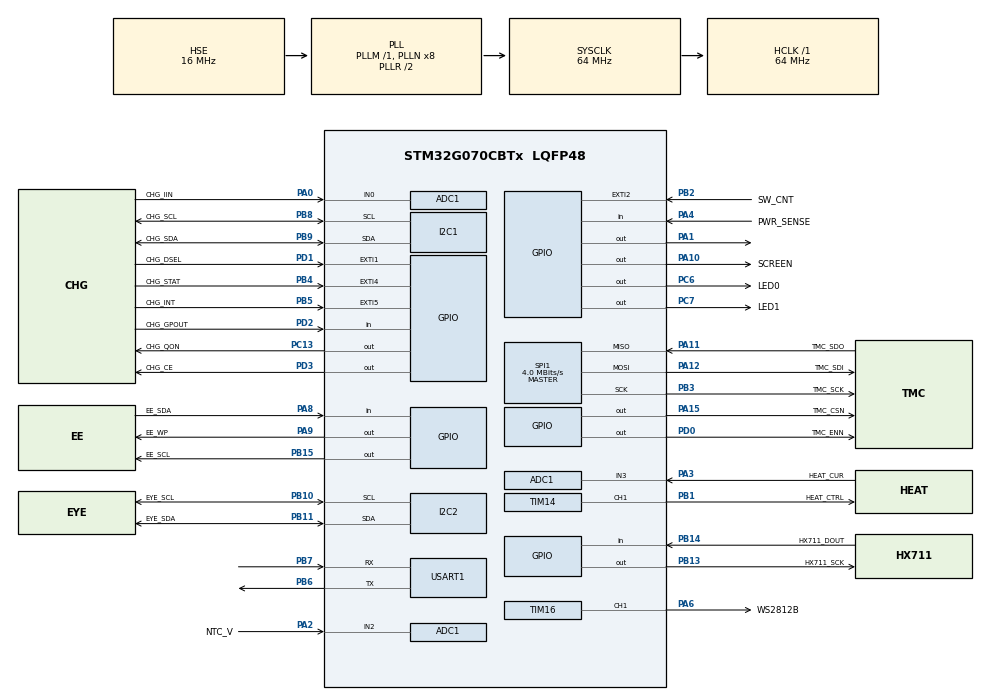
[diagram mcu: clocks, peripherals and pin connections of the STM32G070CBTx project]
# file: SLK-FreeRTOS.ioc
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ADC1.Channel-0\#ChannelRegularConversion=ADC_CHANNEL_0
ADC1.Channel-1\#ChannelRegularConversion=ADC_CHANNEL_2
ADC1.Channel-2\#ChannelRegularConversion=ADC_CHANNEL_3
ADC1.ClockPrescaler=ADC_CLOCK_ASYNC_DIV32
ADC1.ContinuousConvMode=ENABLE
ADC1.DMAContinuousRequests=ENABLE
ADC1.EOCSelection=ADC_EOC_SEQ_CONV
ADC1.NbrOfConversion=3
ADC1.NbrOfConversionFlag=1
ADC1.Overrun=ADC_OVR_DATA_OVERWRITTEN
ADC1.OversamplingMode=ENABLE
ADC1.Rank-0\#ChannelRegularConversion=1
ADC1.Rank-1\#ChannelRegularConversion=2
ADC1.Rank-2\#ChannelRegularConversion=3
ADC1.Ratio=ADC_OVERSAMPLING_RATIO_256
ADC1.Resolution=ADC_RESOLUTION_12B
ADC1.RightBitShift=ADC_RIGHTBITSHIFT_4
ADC1.SamplingTime-0\#ChannelRegularConversion=ADC_SAMPLINGTIME_COMMON_1
ADC1.SamplingTime-1\#ChannelRegularConversion=ADC_SAMPLINGTIME_COMMON_1
ADC1.SamplingTime-2\#ChannelRegularConversion=ADC_SAMPLINGTIME_COMMON_1
ADC1.SelectedChannel=ADC_CHANNEL_0|ADC_CHANNEL_2|ADC_CHANNEL_3
ADC1.master=1
Dma.ADC1.2.Direction=DMA_PERIPH_TO_MEMORY
Dma.ADC1.2.EventEnable=DISABLE
Dma.ADC1.2.Instance=DMA1_Channel5
Dma.ADC1.2.MemDataAlignment=DMA_MDATAALIGN_HALFWORD
Dma.ADC1.2.MemInc=DMA_MINC_ENABLE
Dma.ADC1.2.Mode=DMA_CIRCULAR
Dma.ADC1.2.PeriphDataAlignment=DMA_PDATAALIGN_HALFWORD
Dma.ADC1.2.PeriphInc=DMA_PINC_DISABLE
Dma.ADC1.2.Polarity=HAL_DMAMUX_REQ_GEN_RISING
Dma.ADC1.2.Priority=DMA_PRIORITY_LOW
Dma.ADC1.2.RequestNumber=1
Dma.ADC1.2.SignalID=NONE
Dma.ADC1.2.SyncEnable=DISABLE
Dma.ADC1.2.SyncPolarity=HAL_DMAMUX_SYNC_NO_EVENT
Dma.ADC1.2.SyncRequestNumber=1
Dma.ADC1.2.SyncSignalID=NONE
Dma.I2C1_RX.5.Direction=DMA_PERIPH_TO_MEMORY
Dma.I2C1_RX.5.EventEnable=DISABLE
Dma.I2C1_RX.5.Instance=DMA1_Channel1
Dma.I2C1_RX.5.MemDataAlignment=DMA_MDATAALIGN_BYTE
Dma.I2C1_RX.5.MemInc=DMA_MINC_ENABLE
Dma.I2C1_RX.5.Mode=DMA_NORMAL
Dma.I2C1_RX.5.PeriphDataAlignment=DMA_PDATAALIGN_BYTE
Dma.I2C1_RX.5.PeriphInc=DMA_PINC_DISABLE
Dma.I2C1_RX.5.Polarity=HAL_DMAMUX_REQ_GEN_RISING
Dma.I2C1_RX.5.Priority=DMA_PRIORITY_LOW
Dma.I2C1_RX.5.RequestNumber=1
Dma.I2C1_RX.5.SignalID=NONE
Dma.I2C1_RX.5.SyncEnable=DISABLE
Dma.I2C1_RX.5.SyncPolarity=HAL_DMAMUX_SYNC_NO_EVENT
Dma.I2C1_RX.5.SyncRequestNumber=1
Dma.I2C1_RX.5.SyncSignalID=NONE
Dma.I2C1_TX.6.Direction=DMA_MEMORY_TO_PERIPH
Dma.I2C1_TX.6.EventEnable=DISABLE
Dma.I2C1_TX.6.Instance=DMA1_Channel2
Dma.I2C1_TX.6.MemDataAlignment=DMA_MDATAALIGN_BYTE
Dma.I2C1_TX.6.MemInc=DMA_MINC_ENABLE
Dma.I2C1_TX.6.Mode=DMA_NORMAL
Dma.I2C1_TX.6.PeriphDataAlignment=DMA_PDATAALIGN_BYTE
Dma.I2C1_TX.6.PeriphInc=DMA_PINC_DISABLE
Dma.I2C1_TX.6.Polarity=HAL_DMAMUX_REQ_GEN_RISING
Dma.I2C1_TX.6.Priority=DMA_PRIORITY_LOW
Dma.I2C1_TX.6.RequestNumber=1
Dma.I2C1_TX.6.SignalID=NONE
Dma.I2C1_TX.6.SyncEnable=DISABLE
Dma.I2C1_TX.6.SyncPolarity=HAL_DMAMUX_SYNC_NO_EVENT
Dma.I2C1_TX.6.SyncRequestNumber=1
Dma.I2C1_TX.6.SyncSignalID=NONE
Dma.I2C2_RX.0.Direction=DMA_PERIPH_TO_MEMORY
Dma.I2C2_RX.0.EventEnable=DISABLE
Dma.I2C2_RX.0.Instance=DMA1_Channel3
Dma.I2C2_RX.0.MemDataAlignment=DMA_MDATAALIGN_BYTE
Dma.I2C2_RX.0.MemInc=DMA_MINC_ENABLE
Dma.I2C2_RX.0.Mode=DMA_NORMAL
Dma.I2C2_RX.0.PeriphDataAlignment=DMA_PDATAALIGN_BYTE
Dma.I2C2_RX.0.PeriphInc=DMA_PINC_DISABLE
Dma.I2C2_RX.0.Polarity=HAL_DMAMUX_REQ_GEN_RISING
Dma.I2C2_RX.0.Priority=DMA_PRIORITY_LOW
Dma.I2C2_RX.0.RequestNumber=1
Dma.I2C2_RX.0.SignalID=NONE
Dma.I2C2_RX.0.SyncEnable=DISABLE
Dma.I2C2_RX.0.SyncPolarity=HAL_DMAMUX_SYNC_NO_EVENT
Dma.I2C2_RX.0.SyncRequestNumber=1
Dma.I2C2_RX.0.SyncSignalID=NONE
Dma.I2C2_TX.1.Direction=DMA_MEMORY_TO_PERIPH
Dma.I2C2_TX.1.EventEnable=DISABLE
Dma.I2C2_TX.1.Instance=DMA1_Channel4
Dma.I2C2_TX.1.MemDataAlignment=DMA_MDATAALIGN_BYTE
Dma.I2C2_TX.1.MemInc=DMA_MINC_ENABLE
Dma.I2C2_TX.1.Mode=DMA_NORMAL
Dma.I2C2_TX.1.PeriphDataAlignment=DMA_PDATAALIGN_BYTE
Dma.I2C2_TX.1.PeriphInc=DMA_PINC_DISABLE
Dma.I2C2_TX.1.Polarity=HAL_DMAMUX_REQ_GEN_RISING
Dma.I2C2_TX.1.Priority=DMA_PRIORITY_LOW
Dma.I2C2_TX.1.RequestNumber=1
Dma.I2C2_TX.1.SignalID=NONE
Dma.I2C2_TX.1.SyncEnable=DISABLE
Dma.I2C2_TX.1.SyncPolarity=HAL_DMAMUX_SYNC_NO_EVENT
Dma.I2C2_TX.1.SyncRequestNumber=1
Dma.I2C2_TX.1.SyncSignalID=NONE
Dma.Request0=I2C2_RX
Dma.Request1=I2C2_TX
Dma.Request2=ADC1
Dma.Request3=USART1_TX
Dma.Request4=TIM16_CH1
Dma.Request5=I2C1_RX
Dma.Request6=I2C1_TX
Dma.TIM16_CH1.4.Direction=DMA_MEMORY_TO_PERIPH
Dma.TIM16_CH1.4.EventEnable=DISABLE
Dma.TIM16_CH1.4.Instance=DMA1_Channel7
Dma.TIM16_CH1.4.MemDataAlignment=DMA_MDATAALIGN_HALFWORD
Dma.TIM16_CH1.4.MemInc=DMA_MINC_ENABLE
Dma.TIM16_CH1.4.Mode=DMA_CIRCULAR
Dma.TIM16_CH1.4.PeriphDataAlignment=DMA_PDATAALIGN_HALFWORD
Dma.TIM16_CH1.4.PeriphInc=DMA_PINC_DISABLE
Dma.TIM16_CH1.4.Polarity=HAL_DMAMUX_REQ_GEN_RISING
Dma.TIM16_CH1.4.Priority=DMA_PRIORITY_MEDIUM
Dma.TIM16_CH1.4.RequestNumber=1
Dma.TIM16_CH1.4.SignalID=NONE
Dma.TIM16_CH1.4.SyncEnable=DISABLE
Dma.TIM16_CH1.4.SyncPolarity=HAL_DMAMUX_SYNC_NO_EVENT
Dma.TIM16_CH1.4.SyncRequestNumber=1
Dma.TIM16_CH1.4.SyncSignalID=NONE
Dma.USART1_TX.3.Direction=DMA_MEMORY_TO_PERIPH
Dma.USART1_TX.3.EventEnable=DISABLE
Dma.USART1_TX.3.Instance=DMA1_Channel6
Dma.USART1_TX.3.MemDataAlignment=DMA_MDATAALIGN_BYTE
Dma.USART1_TX.3.MemInc=DMA_MINC_ENABLE
Dma.USART1_TX.3.Mode=DMA_NORMAL
Dma.USART1_TX.3.PeriphDataAlignment=DMA_PDATAALIGN_BYTE
Dma.USART1_TX.3.PeriphInc=DMA_PINC_DISABLE
Dma.USART1_TX.3.Polarity=HAL_DMAMUX_REQ_GEN_RISING
Dma.USART1_TX.3.Priority=DMA_PRIORITY_LOW
Dma.USART1_TX.3.RequestNumber=1
Dma.USART1_TX.3.SignalID=NONE
Dma.USART1_TX.3.SyncEnable=DISABLE
Dma.USART1_TX.3.SyncPolarity=HAL_DMAMUX_SYNC_NO_EVENT
Dma.USART1_TX.3.SyncRequestNumber=1
Dma.USART1_TX.3.SyncSignalID=NONE
FREERTOS.Events01=All_Event,Dynamic,NULL
FREERTOS.Queues01=dataQueue,5,uart_rx_data,0,Dynamic,NULL,NULL;Temperature_Queue,10,float,0,Dynamic,NULL,NULL;Force_Queue,10,uint32_t,0,Dynamic,NULL,NULL
FREERTOS.Tasks01=Motor_Task,24,128,AppMotor_Task,Default,NULL,Dynamic,NULL,NULL;HeatTask,24,128,APP_HeatTask,Default,NULL,Dynamic,NULL,NULL;Uart_ProcessTas,24,128,App_Uart_ProcessTask,Default,NULL,Dynamic,NULL,NULL;Charge_Task,8,128,App_Charge_Task,Default,NULL,Dynamic,NULL,NULL
FREERTOS.Timers01=breatheTimer,BreatheTimerCallback,osTimerPeriodic,Default,NULL,Dynamic,NULL
FREERTOS.configTOTAL_HEAP_SIZE=8192
I2C1.CustomTiming=Disabled
I2C1.Timing=0x10707DBC
I2C2.Timing=0x10707DBC
Mcu.Family=STM32G0
Mcu.Name=STM32G070CBTx
Mcu.Package=LQFP48
NVIC.ADC1_IRQn=true\:3\:0\:false\:false\:true\:false\:true\:true\:true
NVIC.DMA1_Ch4_7_DMAMUX1_OVR_IRQn=true\:0\:0\:true\:false\:true\:false\:false\:true\:true
NVIC.DMA1_Channel1_IRQn=true\:3\:0\:false\:false\:true\:true\:false\:true\:true
NVIC.DMA1_Channel2_3_IRQn=true\:3\:0\:false\:false\:true\:true\:false\:true\:true
NVIC.EXTI0_1_IRQn=true\:3\:0\:false\:false\:true\:true\:true\:true\:true
NVIC.EXTI2_3_IRQn=true\:3\:0\:true\:false\:true\:false\:true\:true\:true
NVIC.EXTI4_15_IRQn=true\:3\:0\:false\:false\:true\:true\:true\:true\:true
NVIC.FLASH_IRQn=true\:3\:0\:false\:false\:true\:true\:true\:true\:true
NVIC.I2C1_IRQn=true\:3\:0\:false\:false\:true\:false\:true\:true\:true
NVIC.I2C2_IRQn=true\:3\:0\:false\:false\:true\:false\:true\:true\:true
NVIC.RCC_IRQn=true\:3\:0\:false\:false\:true\:true\:true\:false\:true
NVIC.SPI1_IRQn=true\:3\:0\:false\:false\:true\:false\:true\:true\:true
NVIC.TIM14_IRQn=true\:3\:0\:false\:false\:true\:false\:true\:true\:true
NVIC.TIM6_IRQn=true\:3\:0\:false\:false\:true\:false\:true\:true\:true
NVIC.TIM7_IRQn=true\:3\:0\:true\:false\:true\:false\:true\:true\:true
NVIC.TimeBase=TIM6_IRQn
NVIC.TimeBaseIP=TIM6
NVIC.USART1_IRQn=true\:3\:0\:true\:false\:true\:true\:true\:true\:true
PA0.GPIO_Label=CHG_IIN
PA0.Mode=IN0
PA0.Signal=ADC1_IN0
PA1.PinState=GPIO_PIN_RESET
PA1.Signal=GPIO_Output
PA10.GPIO_FMPA10=SYSCFG_FASTMODEPLUS_PA10
PA10.GPIO_Label=SCREEN
PA10.GPIO_ModeDefaultOutputPP=GPIO_MODE_OUTPUT_OD
PA10.GPIO_PuPd=GPIO_NOPULL
PA10.GPIO_Speed=GPIO_SPEED_FREQ_LOW
PA10.PinState=GPIO_PIN_RESET
PA10.Signal=GPIO_Output
PA11\ [PA9].GPIO_Label=TMC_SDO
PA11\ [PA9].Mode=Full_Duplex_Master
PA11\ [PA9].Signal=SPI1_MISO
PA12\ [PA10].GPIO_Label=TMC_SDI
PA12\ [PA10].Mode=Full_Duplex_Master
PA12\ [PA10].Signal=SPI1_MOSI
PA13.Mode=Serial_Wire
PA13.Signal=SYS_SWDIO
PA14-BOOT0.Mode=Serial_Wire
PA14-BOOT0.Signal=SYS_SWCLK
PA15.GPIO_Label=TMC_CSN
PA15.PinState=GPIO_PIN_SET
PA15.Signal=GPIO_Output
PA2.GPIO_Label=NTC_V
PA2.Mode=IN2
PA2.Signal=ADC1_IN2
PA3.GPIO_Label=HEAT_CUR
PA3.Mode=IN3
PA3.Signal=ADC1_IN3
PA4.GPIO_Label=PWR_SENSE
PA4.GPIO_PuPd=GPIO_PULLDOWN
PA4.Signal=GPIO_Input
PA6.GPIO_Label=WS2812B
PA6.GPIO_Speed=GPIO_SPEED_FREQ_VERY_HIGH
PA6.Signal=S_TIM16_CH1
PA7.GPIO_Label=LED3
PA7.Signal=S_TIM17_CH1
PA8.GPIO_Label=EE_SDA
PA8.Signal=GPIO_Input
PA9.GPIO_Label=EE_WP
PA9.Signal=GPIO_Output
PB0.GPIO_Label=LED4
PB0.Signal=S_TIM3_CH3
PB1.GPIO_Label=HEAT_CTRL
PB1.Signal=S_TIM14_CH1
PB10.GPIO_Label=EYE_SCL
PB10.Mode=I2C
PB10.Signal=I2C2_SCL
PB11.GPIO_Label=EYE_SDA
PB11.Mode=I2C
PB11.Signal=I2C2_SDA
PB13.GPIO_Label=HX711_SCK
PB13.Signal=GPIO_Output
PB14.GPIO_Label=HX711_DOUT
PB14.Signal=GPIO_Input
PB15.GPIO_Label=EE_SCL
PB15.Signal=GPIO_Output
PB2.GPIO_Label=SW_CNT
PB2.GPIO_ModeDefaultEXTI=GPIO_MODE_IT_FALLING
PB2.Signal=GPXTI2
PB3.GPIO_Label=TMC_SCK
PB3.Mode=Full_Duplex_Master
PB3.Signal=SPI1_SCK
PB4.GPIO_Label=CHG_STAT
PB4.Signal=GPXTI4
PB5.GPIO_Label=CHG_INT
PB5.Signal=GPXTI5
PB6.Mode=Asynchronous
PB6.Signal=USART1_TX
PB7.Mode=Asynchronous
PB7.Signal=USART1_RX
PB8.GPIO_Label=CHG_SCL
PB8.Mode=I2C
PB8.Signal=I2C1_SCL
PB9.GPIO_Label=CHG_SDA
PB9.Mode=I2C
PB9.Signal=I2C1_SDA
PC13.GPIO_Label=CHG_QON
PC13.Signal=GPIO_Output
PC14-OSC32_IN\ (PC14).Mode=LSE-External-Oscillator
PC14-OSC32_IN\ (PC14).Signal=RCC_OSC32_IN
PC15-OSC32_OUT\ (PC15).Mode=LSE-External-Oscillator
PC15-OSC32_OUT\ (PC15).Signal=RCC_OSC32_OUT
PC6.GPIO_Label=LED0
PC6.PinState=GPIO_PIN_SET
PC6.Signal=GPIO_Output
PC7.GPIO_Label=LED1
PC7.PinState=GPIO_PIN_SET
PC7.Signal=GPIO_Output
PD0.GPIO_Label=TMC_ENN
PD0.PinState=GPIO_PIN_SET
PD0.Signal=GPIO_Output
PD1.GPIO_Label=CHG_DSEL
PD1.Signal=GPXTI1
PD2.GPIO_Label=CHG_GPOUT
PD2.Signal=GPIO_Input
PD3.GPIO_Label=CHG_CE
PD3.PinState=GPIO_PIN_SET
PD3.Signal=GPIO_Output
PF0-OSC_IN\ (PF0).Mode=HSE-External-Oscillator
PF0-OSC_IN\ (PF0).Signal=RCC_OSC_IN
PF1-OSC_OUT\ (PF1).Mode=HSE-External-Oscillator
PF1-OSC_OUT\ (PF1).Signal=RCC_OSC_OUT
ProjectManager.HeapSize=0x200
ProjectManager.StackSize=0x400
ProjectManager.TargetToolchain=STM32CubeIDE
RCC.ADCFreq_Value=64000000
RCC.AHBFreq_Value=64000000
RCC.CortexFreq_Value=64000000
RCC.EXTERNAL_CLOCK_VALUE=48000
RCC.HCLKFreq_Value=64000000
RCC.HSE_VALUE=16000000
RCC.HSI_VALUE=16000000
RCC.PLLSourceVirtual=RCC_PLLSOURCE_HSE
RCC.SYSCLKFreq_VALUE=64000000
RCC.SYSCLKSource=RCC_SYSCLKSOURCE_PLLCLK
RCC.VCOOutputFreq_Value=128000000
SH.S_TIM14_CH1.0=TIM14_CH1,PWM Generation1 CH1
SH.S_TIM16_CH1.0=TIM16_CH1,PWM Generation1 CH1
SH.S_TIM17_CH1.0=TIM17_CH1
SH.S_TIM3_CH3.0=TIM3_CH3
SPI1.BaudRatePrescaler=SPI_BAUDRATEPRESCALER_16
SPI1.CLKPhase=SPI_PHASE_2EDGE
SPI1.CLKPolarity=SPI_POLARITY_HIGH
SPI1.CalculateBaudRate=4.0 MBits/s
SPI1.DataSize=SPI_DATASIZE_8BIT
SPI1.Direction=SPI_DIRECTION_2LINES
SPI1.Mode=SPI_MODE_MASTER
SPI1.VirtualType=VM_MASTER
TIM14.Channel=TIM_CHANNEL_1
TIM14.Period=255
TIM14.Prescaler=63
TIM16.Channel=TIM_CHANNEL_1
TIM16.Period=160
TIM16.Pulse=0
TIM7.AutoReloadPreload=TIM_AUTORELOAD_PRELOAD_ENABLE
TIM7.Period=4999
TIM7.Prescaler=639
USART1.VirtualMode-Asynchronous=VM_ASYNC
VP_FREERTOS_VS_CMSIS_V2.Mode=CMSIS_V2
VP_SYS_VS_DBSignals.Mode=DisableDeadBatterySignals
VP_SYS_VS_tim6.Mode=TIM6
VP_TIM14_VS_ClockSourceINT.Mode=Enable_Timer
VP_TIM16_VS_ClockSourceINT.Mode=Enable_Timer
VP_TIM17_VS_ClockSourceINT.Mode=Enable_Timer
VP_TIM7_VS_ClockSourceINT.Mode=Enable_Timer
board=custom

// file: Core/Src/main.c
/* USER CODE BEGIN Header */
/**
  ******************************************************************************
  * @file           : main.c
  * @brief          : Main program body
  ******************************************************************************
  * @attention
  *
  * Copyright (c) 2024 STMicroelectronics.
  * All rights reserved.
  *
  * This software is licensed under terms that can be found in the LICENSE file
  * in the root directory of this software component.
  * If no LICENSE file comes with this software, it is provided AS-IS.
  *
  ******************************************************************************
  */
/* USER CODE END Header */
#include "main.h"
#include "cmsis_os.h"
#include "adc.h"
#include "dma.h"
#include "i2c.h"
#include "spi.h"
#include "tim.h"
#include "usart.h"
#include "gpio.h"

/* USER CODE BEGIN PV */
extern uint8_t MotorCompareState;
uint8_t counter; // ĺŽćśďż????7çčŽĄć°ĺ¨
/* USER CODE END PV */

void SystemClock_Config(void);
void MX_FREERTOS_Init(void);

int main(void)
{

  /* MCU Configuration--------------------------------------------------------*/

  /* Reset of all peripherals, Initializes the Flash interface and the Systick. */
  HAL_Init();

  /* Configure the system clock */
  SystemClock_Config();

  /* Initialize all configured peripherals */
  MX_GPIO_Init();
  MX_DMA_Init();
  MX_ADC1_Init();
  MX_I2C1_Init();
  MX_I2C2_Init();
  MX_SPI1_Init();
  MX_USART1_UART_Init();
  MX_TIM14_Init();
  MX_TIM16_Init();
  MX_TIM7_Init();
  MX_TIM17_Init();

  /* Init scheduler */
  osKernelInitialize();  /* Call init function for freertos objects (in freertos.c) */
  MX_FREERTOS_Init();

  /* Start scheduler */
  osKernelStart();

  /* We should never get here as control is now taken by the scheduler */
  /* Infinite loop */
  while (1)
  {

  }
}

void SystemClock_Config(void)
{
  RCC_OscInitTypeDef RCC_OscInitStruct = {0};
  RCC_ClkInitTypeDef RCC_ClkInitStruct = {0};

  /** Configure the main internal regulator output voltage
  */
  HAL_PWREx_ControlVoltageScaling(PWR_REGULATOR_VOLTAGE_SCALE1);

  /** Initializes the RCC Oscillators according to the specified parameters
  * in the RCC_OscInitTypeDef structure.
  */
  RCC_OscInitStruct.OscillatorType = RCC_OSCILLATORTYPE_HSE;
  RCC_OscInitStruct.HSEState = RCC_HSE_ON;
  RCC_OscInitStruct.PLL.PLLState = RCC_PLL_ON;
  RCC_OscInitStruct.PLL.PLLSource = RCC_PLLSOURCE_HSE;
  RCC_OscInitStruct.PLL.PLLM = RCC_PLLM_DIV1;
  RCC_OscInitStruct.PLL.PLLN = 8;
  RCC_OscInitStruct.PLL.PLLP = RCC_PLLP_DIV2;
  RCC_OscInitStruct.PLL.PLLR = RCC_PLLR_DIV2;
  if (HAL_RCC_OscConfig(&RCC_OscInitStruct) != HAL_OK)
  {
    Error_Handler();
  }

  /** Initializes the CPU, AHB and APB buses clocks
  */
  RCC_ClkInitStruct.ClockType = RCC_CLOCKTYPE_HCLK|RCC_CLOCKTYPE_SYSCLK
                              |RCC_CLOCKTYPE_PCLK1;
  RCC_ClkInitStruct.SYSCLKSource = RCC_SYSCLKSOURCE_PLLCLK;
  RCC_ClkInitStruct.AHBCLKDivider = RCC_SYSCLK_DIV1;
  RCC_ClkInitStruct.APB1CLKDivider = RCC_HCLK_DIV1;

  if (HAL_RCC_ClockConfig(&RCC_ClkInitStruct, FLASH_LATENCY_2) != HAL_OK)
  {
    Error_Handler();
  }
}

void HAL_TIM_PeriodElapsedCallback(TIM_HandleTypeDef *htim)
{
  if (htim->Instance == TIM6) {
    HAL_IncTick();
  }
  /* USER CODE BEGIN Callback 1 */
    if (htim == &htim7) // 50ms��ʱ��
    {
        counter++;
        if ((counter == 10) && (MotorCompareState == 2))
        {
            MotorCompareState = 1;
        }
        if ((counter == 60) && (MotorCompareState == 1))
        {
            MotorCompareState = 2;
            counter = 0;
        }
    }
  /* USER CODE BEGIN Callback 1 */

  /* USER CODE END Callback 1 */
}

void Error_Handler(void)
{
  __disable_irq();
  while (1)
  {
  }
}

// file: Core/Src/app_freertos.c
/* USER CODE BEGIN Header */
/**
  ******************************************************************************
  * File Name          : app_freertos.c
  * Description        : Code for freertos applications
  ******************************************************************************
  * @attention
  *
  * Copyright (c) 2024 STMicroelectronics.
  * All rights reserved.
  *
  * This software is licensed under terms that can be found in the LICENSE file
  * in the root directory of this software component.
  * If no LICENSE file comes with this software, it is provided AS-IS.
  *
  ******************************************************************************
  */
/* USER CODE END Header */

#include "FreeRTOS.h"
#include "task.h"
#include "main.h"
#include "cmsis_os.h"

/* USER CODE BEGIN Variables */
uart_data uart_rx_data;
extern int32_t ForceRawOffset;
uint8_t MotorCompareState = 0;
int32_t Force_Q;

extern int32_t ForceRawSet;
int32_t ForceRawActual;

extern TIM_HandleTypeDef htim7;

extern I2C_HandleTypeDef hi2c2;

extern BQ27441_typedef BQ27441;
extern uint8_t PowerState;
extern uint8_t BQ25895Reg[21];

#define BREATHE_STEPS 256 // 假设有256个呼吸步骤

volatile int breatheIndex = 0; // 当前呼吸效果的索引
 uint32_t breatheLUT[BREATHE_STEPS] = {
          1,   1,   1,   2,   2,   3,   4,   5,   5,   6,   7,   9,
         10,  11,  12};

/* USER CODE END Variables */
/* Definitions for Motor_Task */
osThreadId_t Motor_TaskHandle;
const osThreadAttr_t Motor_Task_attributes = {
  .name = "Motor_Task",
  .priority = (osPriority_t) osPriorityNormal,
  .stack_size = 128 * 4
};
/* Definitions for HeatTask */
osThreadId_t HeatTaskHandle;
const osThreadAttr_t HeatTask_attributes = {
  .name = "HeatTask",
  .priority = (osPriority_t) osPriorityNormal,
  .stack_size = 128 * 4
};
/* Definitions for Uart_ProcessTas */
osThreadId_t Uart_ProcessTasHandle;
const osThreadAttr_t Uart_ProcessTas_attributes = {
  .name = "Uart_ProcessTas",
  .priority = (osPriority_t) osPriorityNormal,
  .stack_size = 128 * 4
};
/* Definitions for Charge_Task */
osThreadId_t Charge_TaskHandle;
const osThreadAttr_t Charge_Task_attributes = {
  .name = "Charge_Task",
  .priority = (osPriority_t) osPriorityLow,
  .stack_size = 128 * 4
};
/* Definitions for dataQueue */
osMessageQueueId_t dataQueueHandle;
const osMessageQueueAttr_t dataQueue_attributes = {
  .name = "dataQueue"
};
/* Definitions for Temperature_Queue */
osMessageQueueId_t Temperature_QueueHandle;
const osMessageQueueAttr_t Temperature_Queue_attributes = {
  .name = "Temperature_Queue"
};
/* Definitions for Force_Queue */
osMessageQueueId_t Force_QueueHandle;
const osMessageQueueAttr_t Force_Queue_attributes = {
  .name = "Force_Queue"
};
/* Definitions for breatheTimer */
osTimerId_t breatheTimerHandle;
const osTimerAttr_t breatheTimer_attributes = {
  .name = "breatheTimer"
};
/* Definitions for All_Event */
osEventFlagsId_t All_EventHandle;
const osEventFlagsAttr_t All_Event_attributes = {
  .name = "All_Event"
};

void AppMotor_Task(void *argument);
void APP_HeatTask(void *argument);
void App_Uart_ProcessTask(void *argument);
void App_Charge_Task(void *argument);
void BreatheTimerCallback(void *argument);

void MX_FREERTOS_Init(void); /* (MISRA C 2004 rule 8.1) */

void MX_FREERTOS_Init(void) {

  /* Create the timer(s) */
  /* creation of breatheTimer */
  breatheTimerHandle = osTimerNew(BreatheTimerCallback, osTimerPeriodic, NULL, &breatheTimer_attributes);

  /* Create the queue(s) */
  /* creation of dataQueue */
  dataQueueHandle = osMessageQueueNew (5, sizeof(uart_rx_data), &dataQueue_attributes);

  /* creation of Temperature_Queue */
  Temperature_QueueHandle = osMessageQueueNew (10, sizeof(float), &Temperature_Queue_attributes);

  /* creation of Force_Queue */
  Force_QueueHandle = osMessageQueueNew (10, sizeof(uint32_t), &Force_Queue_attributes);

  /* Create the thread(s) */
  /* creation of Motor_Task */
  Motor_TaskHandle = osThreadNew(AppMotor_Task, NULL, &Motor_Task_attributes);

  /* creation of HeatTask */
  HeatTaskHandle = osThreadNew(APP_HeatTask, NULL, &HeatTask_attributes);

  /* creation of Uart_ProcessTas */
  Uart_ProcessTasHandle = osThreadNew(App_Uart_ProcessTask, NULL, &Uart_ProcessTas_attributes);

  /* creation of Charge_Task */
  Charge_TaskHandle = osThreadNew(App_Charge_Task, NULL, &Charge_Task_attributes);

  /* Create the event(s) */
  /* creation of All_Event */
  All_EventHandle = osEventFlagsNew(&All_Event_attributes);

}

void AppMotor_Task(void *argument)
{
  /* USER CODE BEGIN AppMotor_Task */
    int count = 0; // 初始化计数器
    EventBits_t Motor_Event_Bit;
    uint8_t Motor_Reset_Position_ReadData[4];
    TMC5130_Init();
    HX711_Init();

    vTaskDelay(200);
    xEventGroupSetBits(All_EventHandle, Reset_Motor_BIT_4);//设置电机复位事件
    uint32_t Force_Raw_Data[3];
    for (;;) {
        Motor_Event_Bit = xEventGroupWaitBits(
                All_EventHandle,                     // Event group handle
                Motor_BIT_2 | Auto_BIT_3 | SW_BIT_1 | Reset_Motor_BIT_4, // flag bits to wait for
                pdFALSE,                             // clear these bits when the function responds
                pdFALSE,                             // Whether to wait for all flag bits
                100                                  // Whether to wait indefinitely
                // portMAX_DELAY    // Whether to wait indefinitely
        );

        if ((((Motor_Event_Bit & Motor_BIT_2) != 0) || ((Motor_Event_Bit & Auto_BIT_3) != 0)) &&
            ((Motor_Event_Bit & SW_BIT_1) == 0)) // 脉动或自动事件发生，按钮事件没发生（电机预模式）
        {
            vTaskDelay(200);
            // printf("电机预模");
        }
        else if ((((Motor_Event_Bit & Motor_BIT_2) != 0 || (Motor_Event_Bit & Auto_BIT_3)) != 0) &&
                 ((Motor_Event_Bit & SW_BIT_1) != 0)) // 脉动或自动事件发生，按钮事件发生（正式脉动模式启动）
        {
            //vTaskDelay(1000);

            for (int i = 0; i < 3; ++i) {
                Force_Raw_Data[i] = HX711_Read();
            }
            ForceRawActual = processFilter_force(Force_Raw_Data,5);//电机做比对时，对压力传感器的数值进行过滤
            if ((ForceRawActual >= 500000) && (MotorCompareState == 0)) {//检测压力传感器是否达到500000，电机状态是否空闲
                HAL_TIM_Base_Start_IT(&htim7);//开启定时器进行电机状态切换
                MotorCompareState = 1;//电机置为前进状态
            } else if ((ForceRawActual <= 300) && (MotorCompareState != 0)) {//压力传感器压力小于300且电机状态不空闲
                HAL_TIM_Base_Stop_IT(&htim7);//开启定时器进行电机状态切换
                TMC5130_Write(0xa7, 0x6000); // 治疗阶段的前进速度
                TMC5130_Write(0xa0, 1);
                MotorCompareState = 0;//电机置于非治疗阶段
            }
            switch (MotorCompareState) {
                case 1:
                    MotorCompare(ForceRawOffset + ForceRawSet, ForceRawActual);
                    vTaskDelay(10);
                    break;
                case 2:
                    TMC5130_Write(0xa7, 0x6000); // 治疗阶段的回退的速度
                    TMC5130_Write(0xa0, 2);
                    vTaskDelay(10);
                    break;
                default:
                    break;
            }
            Force_Q = (ForceRawActual - ForceRawOffset < 0) ? 0 : (ForceRawActual - ForceRawOffset);//去皮+去负数
            Limit(Force_Q, 0, ForceRawSet + 12617);//最大值最小值做限幅
            xQueueSend(Force_QueueHandle, &Force_Q, 0);
        } else if ((Motor_Event_Bit & Reset_Motor_BIT_4) != 0) {//电机复位事件被设置
            HAL_GPIO_WritePin(TMC_ENN_GPIO_Port, TMC_ENN_Pin, GPIO_PIN_RESET); // 使能tmc电机引脚
            TMC5130_Write(0xa7, 0x10000);
            TMC5130_Write(0xa0, 2);
            TMC5130_Read(0x04, Motor_Reset_Position_ReadData); // 继续读 位置寄存器
            if ((Motor_Reset_Position_ReadData[3] & 0x02) != 0x02) {//如果位置寄存器读取成功，清除电机复位事件
                HAL_GPIO_WritePin(TMC_ENN_GPIO_Port, TMC_ENN_Pin, GPIO_PIN_SET); // 使能tmc电机引脚
                xEventGroupClearBits(All_EventHandle, Reset_Motor_BIT_4);
                HAL_TIM_Base_Stop_IT(&htim7);
            }
        }
        // TMC5130_Write(0xa0, 1); // 设置tmc电机方向向前
        // vTaskDelay(1000);
        // TMC5130_Write(0xa0, 2);
        // vTaskDelay(1000);
    }
  /* USER CODE END AppMotor_Task */
}

void APP_HeatTask(void *argument)
{
  /* USER CODE BEGIN APP_HeatTask */
    /* Infinite loop */
    EventBits_t Heat_Event_Bit;
    //HeatPIDInit();
    for (;;) {
        Heat_Event_Bit = xEventGroupWaitBits(
                All_EventHandle,                    // Event group handle
                Heat_BIT_0 | Auto_BIT_3 | SW_BIT_1, // flag bits to wait for
                pdFALSE,                            // clear these bits when the function responds
                pdFALSE,                            // Whether to wait for all flag bits
                100                                 // Whether to wait indefinitely
                // portMAX_DELAY                      // Whether to wait indefinitely
        );
        // if ((((Heat_Event_Bit & Heat_BIT_0) || ((Heat_Event_Bit & Auto_BIT_3) != 0)) != 0) && ((Heat_Event_Bit & SW_BIT_1) == 0)) // 加热或自动事件发生，按钮事件没发生（预热模式）
        if ((((Heat_Event_Bit & Heat_BIT_0) != 0) || ((Heat_Event_Bit & Auto_BIT_3) != 0)) &&
            ((Heat_Event_Bit & SW_BIT_1) == 0)) {
            // printf("预加热模式\n");
            start_Heat(Temperature_QueueHandle);
            vTaskDelay(20);
        } else if (((Heat_Event_Bit & (Heat_BIT_0 | SW_BIT_1)) == (Heat_BIT_0 | SW_BIT_1)) ||
                   ((Heat_Event_Bit & (Auto_BIT_3 | SW_BIT_1)) ==
                    (Auto_BIT_3 | SW_BIT_1))) // 加热或???自动事件发生，按钮事件发生（正式加热模式）
        {
            // printf("正式加热模式");
            start_Heat(Temperature_QueueHandle);
            vTaskDelay(200);
        }
        vTaskDelay(20);
    }
  /* USER CODE END APP_HeatTask */
}

void App_Uart_ProcessTask(void *argument)
{
  /* USER CODE BEGIN App_Uart_ProcessTask */
    /* Infinite loop */

    EventBits_t Data_Event_Bit;
    for (;;) {
        Data_Event_Bit = xEventGroupWaitBits(
                All_EventHandle,                                  // Event group handle
                Heat_BIT_0 | Auto_BIT_3 | Motor_BIT_2 | SW_BIT_1, // flag bits to wait for
                pdFALSE,                                          // clear these bits when the function responds
                pdFALSE,                                          // Whether to wait for all flag bits
                100                                               // Whether to wait indefinitely
                // portMAX_DELAY    // Whether to wait indefinitely
        );
        //vTaskDelay(5);

        if ((Data_Event_Bit & Heat_BIT_0) != 0) { // printf("打开热敷数据");
            ProcessTemperatureData(0x0302);
            //vTaskDelay(10);
        }
        if (((Data_Event_Bit & Motor_BIT_2) != 0) && ((Data_Event_Bit & SW_BIT_1) != 0)) { // printf("打开压力数据");
            ProcessForceData(0x0702);
            //vTaskDelay(10);
        }
        if ((Data_Event_Bit & Auto_BIT_3) != 0) { // printf("打开自动数据");
            ProcessTemperatureData(0x0C03);
            //vTaskDelay(10);
            if ((Data_Event_Bit & SW_BIT_1) != 0) {
                ProcessForceData(0x0C04);
                //vTaskDelay(10);
            }
        }
        if (xQueueReceive(dataQueueHandle, &uart_rx_data, 1)) // 阻塞接受队列消息
        {
            // HAL_UART_Transmit(&huart1, (uint8_t *)&(uart_rx_data.buffer), uart_rx_data.length, 0xFFFF);
            processData((PCTRL_MSG) uart_rx_data.buffer); // 处理接收到的数据
        }
        vTaskDelay(20);
    }
  /* USER CODE END App_Uart_ProcessTask */
}

void App_Charge_Task(void *argument)
{
  /* USER CODE BEGIN App_Charge_Task */
    BQ25895_Init(); // 充电芯片初始化
    BQ27441_Init(); // 电量芯片初始化
    AT24CXX_Init(); // 非易失性存储芯片初始化
    PWM_WS2812B_Init();
    UCS1903Show();
    EventBits_t Power_Event_Bit;
    //TimerHandle_t breatheTimer; // 呼吸效果定时器句柄
    //PWM_WS2812B_Write_24Bits(4,100);
    /* Infinite loop */

    for (;;) {
        Power_Event_Bit = xEventGroupWaitBits(
                All_EventHandle,                                  // Event group handle
                PowerState_BIT_5, // flag bits to wait for
                pdFALSE,                                          // clear these bits when the function responds
                pdFALSE,                                          // Whether to wait for all flag bits
                100                                               // Whether to wait indefinitely
                 //                                                                                                                                                               portMAX_DELAY    // Whether to wait indefinitely7
        );
        BQ25895_MultiRead(BQ25895Reg); // 读取充电状态
        PowerStateUpdate();
        BQ27441_MultiRead(&BQ27441);              // 获取电量计数

        if ((Power_Event_Bit & PowerState_BIT_5) != 0) {//充电状态
            //HAL_GPIO_WritePin(GPIOA,GPIO_PIN_10,GPIO_PIN_SET);
            //loopBreatheEffect();//如果检测到充电，就开启呼吸灯
            //HAL_TIM_PWM_Stop(&htim14, TIM_CHANNEL_1);		 // disable pwm for heating film
            osTimerStart(breatheTimerHandle,10);
            vTaskDelay(100);
            xEventGroupClearBits(All_EventHandle, Auto_BIT_3);
            xEventGroupClearBits(All_EventHandle, Motor_BIT_2);
            xEventGroupClearBits(All_EventHandle, Heat_BIT_0); // 加热事件清除
        }
    if ((Power_Event_Bit & PowerState_BIT_5) == 0) {//不充电
        PWM_WS2812B_Write_24Bits(4, 0x1f1f1f);
        //HAL_GPIO_WritePin(GPIOA,GPIO_PIN_10,GPIO_PIN_RESET);
        vTaskDelay(100);
        ScreenUpdateSOC(BQ27441.SOC, PowerState); // 电量上传
        osTimerStop(breatheTimerHandle);

    }
        //vTaskDelay(20);

    }

  /* USER CODE END App_Charge_Task */
}

/* BreatheTimerCallback function */
void BreatheTimerCallback(void *argument)
{
  /* USER CODE BEGIN BreatheTimerCallback */
    static float breathePhase = 0; // 用于计算亮度的相位变量
    const float phaseIncrement = 2 * M_PI / BREATHE_STEPS; // 每次调用增加的相位值
    // 直接计算亮度值
    uint8_t blueColor = (uint8_t)(((1 + sin(breathePhase - M_PI / 2)) / 2) * (200 - 10) + 10);
    uint32_t color = 0x000000 | blueColor; // 构造颜色值
    PWM_WS2812B_Write_24Bits(4, color); // 更新LED亮度
    breathePhase += phaseIncrement; // 更新相位
    if (breathePhase >= 2 * M_PI) breathePhase -= 2 * M_PI; // 确保相位在有效范围内

    //HAL_GPIO_TogglePin(GPIOC, GPIO_PIN_7);
  /* USER CODE END BreatheTimerCallback */
}
